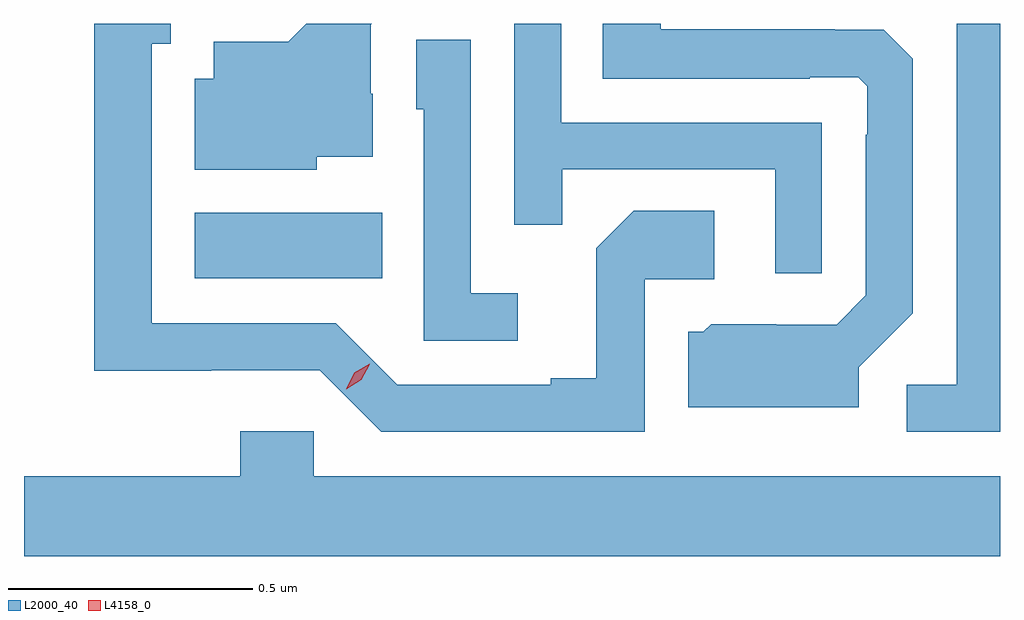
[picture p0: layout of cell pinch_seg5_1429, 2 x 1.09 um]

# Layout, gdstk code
import gdstk
lib = gdstk.Library(unit=1e-6, precision=1e-09)
def R(c, l, rs):  # rectangles x0, y0, x1, y1
    for r in rs: c.add(gdstk.rectangle(r[:2], r[2:], *l))
def P(c, l, *ps):  # polygons
    for p in ps: c.add(gdstk.Polygon(p, *l))
L2000_40 = (2000, 40)
L4158_0 = (4158, 0)

pinch_seg5_1429 = lib.new_cell('pinch_seg5_1429')
R(pinch_seg5_1429, L2000_40, [(139.37,905.282,139.754,905.416)])
P(pinch_seg5_1429, L2000_40, [(141.02,905.804),(140.931,905.804),(140.931,905.064),(140.829,905.064),(140.829,904.968),(141.02,904.968)],
  [(140.292,905.28),(140.434,905.28),(140.434,905.42),(140.269,905.42),(140.193,905.344),(140.193,905.077),(140.099,905.077),(140.099,905.064),(139.785,905.064),(139.659,905.19),(139.282,905.19),(139.282,905.763),(139.321,905.763),(139.321,905.804),(139.164,905.804),(139.164,905.093),(139.404,905.093),(139.404,905.094),(139.626,905.094),(139.752,904.968),(140.292,904.968)],
  [(140.731,905.1),(140.841,905.21),(140.841,905.732),(140.782,905.791),(140.681,905.791),(140.681,905.792),(140.325,905.792),(140.325,905.804),(140.206,905.804),(140.206,905.691),(140.63,905.691),(140.63,905.694),(140.73,905.694),(140.748,905.676),(140.748,905.576),(140.745,905.576),(140.745,905.247),(140.685,905.187),(140.562,905.187),(140.562,905.188),(140.428,905.188),(140.412,905.172),(140.381,905.172),(140.381,905.018),(140.731,905.018)],
  [(139.62,905.531),(139.735,905.531),(139.735,905.66),(139.731,905.66),(139.731,905.802),(139.733,905.804),(139.598,905.804),(139.561,905.767),(139.409,905.767),(139.409,905.691),(139.37,905.691),(139.37,905.504),(139.62,905.504)],
  [(140.655,905.601),(140.121,905.601),(140.121,905.804),(140.025,905.804),(140.025,905.392),(140.123,905.392),(140.123,905.505),(140.559,905.505),(140.559,905.292),(140.655,905.292)],
  [(140.032,905.251),(139.935,905.251),(139.935,905.771),(139.824,905.771),(139.824,905.628),(139.839,905.628),(139.839,905.154),(140.032,905.154)],
  [(141.02,904.876),(139.614,904.876),(139.614,904.969),(139.463,904.969),(139.463,904.876),(139.02,904.876),(139.02,904.712),(141.02,904.712)])
P(pinch_seg5_1429, L4158_0, [(139.68,905.055),(139.68,905.055),(139.697,905.088),(139.728,905.107),(139.729,905.107),(139.729,905.106),(139.711,905.074),(139.68,905.055)])

lib.write_gds('pinch_seg5_1429.gds')
